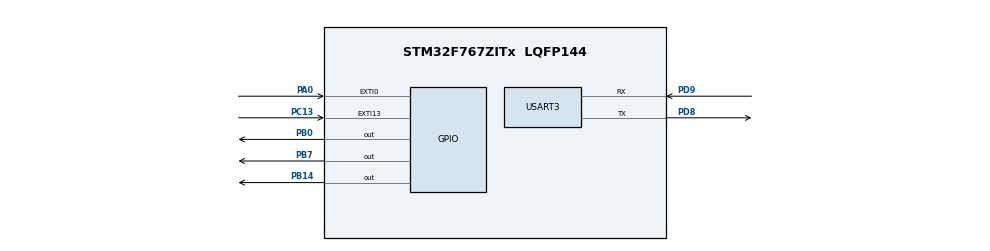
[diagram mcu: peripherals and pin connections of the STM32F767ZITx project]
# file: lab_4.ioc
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Mcu.Family=STM32F7
Mcu.Name=STM32F767ZITx
Mcu.Package=LQFP144
NVIC.EXTI0_IRQn=true\:2\:0\:true\:false\:true\:true\:true
NVIC.EXTI15_10_IRQn=true\:3\:0\:true\:false\:true\:true\:true
NVIC.PriorityGroup=NVIC_PRIORITYGROUP_4
PA0/WKUP.GPIO_ModeDefaultEXTI=GPIO_MODE_IT_FALLING
PA0/WKUP.GPIO_PuPd=GPIO_PULLUP
PA0/WKUP.Signal=GPXTI0
PB0.Signal=GPIO_Output
PB14.Signal=GPIO_Output
PB7.Signal=GPIO_Output
PC13.Signal=GPXTI13
PD8.Mode=Asynchronous
PD8.Signal=USART3_TX
PD9.Mode=Asynchronous
PD9.Signal=USART3_RX
ProjectManager.HeapSize=0x200
ProjectManager.StackSize=0x400
ProjectManager.TargetToolchain=STM32CubeIDE
RCC.HSE_VALUE=25000000
RCC.HSI_VALUE=16000000
RCC.LSE_VALUE=32768
RCC.USBFreq_Value=96000000
RCC.VCOOutputFreq_Value=192000000
USART3.VirtualMode-Asynchronous=VM_ASYNC
board=custom

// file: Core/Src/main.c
/* USER CODE BEGIN Header */
/**
  ******************************************************************************
  * @file           : main.c
  * @brief          : Main program body
  ******************************************************************************
  * @attention
  *
  * <h2><center>&copy; Copyright (c) 2020 STMicroelectronics.
  * All rights reserved.</center></h2>
  *
  * This software component is licensed by ST under BSD 3-Clause license,
  * the "License"; You may not use this file except in compliance with the
  * License. You may obtain a copy of the License at:
  *                        opensource.org/licenses/BSD-3-Clause
  *
  ******************************************************************************
  */
/* USER CODE END Header */

#include "main.h"

/* USER CODE BEGIN PD */
#define PART 1
/* USER CODE END PD */

UART_HandleTypeDef huart3;

/* USER CODE BEGIN PV */
extern UART_HandleTypeDef huart3;
/* USER CODE END PV */

void SystemClock_Config(void);
static void MX_GPIO_Init(void);
static void MX_USART3_UART_Init(void);

int main(void)
{

  /* MCU Configuration--------------------------------------------------------*/

  /* Reset of all peripherals, Initializes the Flash interface and the Systick. */
  HAL_Init();

  /* Configure the system clock */
  SystemClock_Config();

  /* Initialize all configured peripherals */
  MX_GPIO_Init();
  MX_USART3_UART_Init();

  /* Infinite loop */
  /* USER CODE BEGIN WHILE */
  while (1)
  {
	  if (PART == 1) {
		  HAL_UART_Transmit(&huart3, (uint8_t *) ".", 1, 10);
		  HAL_Delay(400);
	  }
    /* USER CODE END WHILE */

  }
}

void SystemClock_Config(void)
{
  RCC_OscInitTypeDef RCC_OscInitStruct = {0};
  RCC_ClkInitTypeDef RCC_ClkInitStruct = {0};
  RCC_PeriphCLKInitTypeDef PeriphClkInitStruct = {0};

  /** Configure the main internal regulator output voltage
  */
  __HAL_RCC_PWR_CLK_ENABLE();
  __HAL_PWR_VOLTAGESCALING_CONFIG(PWR_REGULATOR_VOLTAGE_SCALE3);
  /** Initializes the CPU, AHB and APB busses clocks
  */
  RCC_OscInitStruct.OscillatorType = RCC_OSCILLATORTYPE_HSI;
  RCC_OscInitStruct.HSIState = RCC_HSI_ON;
  RCC_OscInitStruct.HSICalibrationValue = RCC_HSICALIBRATION_DEFAULT;
  RCC_OscInitStruct.PLL.PLLState = RCC_PLL_NONE;
  if (HAL_RCC_OscConfig(&RCC_OscInitStruct) != HAL_OK)
  {
    Error_Handler();
  }
  /** Initializes the CPU, AHB and APB busses clocks
  */
  RCC_ClkInitStruct.ClockType = RCC_CLOCKTYPE_HCLK|RCC_CLOCKTYPE_SYSCLK
                              |RCC_CLOCKTYPE_PCLK1|RCC_CLOCKTYPE_PCLK2;
  RCC_ClkInitStruct.SYSCLKSource = RCC_SYSCLKSOURCE_HSI;
  RCC_ClkInitStruct.AHBCLKDivider = RCC_SYSCLK_DIV1;
  RCC_ClkInitStruct.APB1CLKDivider = RCC_HCLK_DIV1;
  RCC_ClkInitStruct.APB2CLKDivider = RCC_HCLK_DIV1;

  if (HAL_RCC_ClockConfig(&RCC_ClkInitStruct, FLASH_LATENCY_0) != HAL_OK)
  {
    Error_Handler();
  }
  PeriphClkInitStruct.PeriphClockSelection = RCC_PERIPHCLK_USART3;
  PeriphClkInitStruct.Usart3ClockSelection = RCC_USART3CLKSOURCE_PCLK1;
  if (HAL_RCCEx_PeriphCLKConfig(&PeriphClkInitStruct) != HAL_OK)
  {
    Error_Handler();
  }
}

static void MX_USART3_UART_Init(void)
{

  huart3.Instance = USART3;
  huart3.Init.BaudRate = 115200;
  huart3.Init.WordLength = UART_WORDLENGTH_8B;
  huart3.Init.StopBits = UART_STOPBITS_1;
  huart3.Init.Parity = UART_PARITY_NONE;
  huart3.Init.Mode = UART_MODE_TX_RX;
  huart3.Init.HwFlowCtl = UART_HWCONTROL_NONE;
  huart3.Init.OverSampling = UART_OVERSAMPLING_16;
  huart3.Init.OneBitSampling = UART_ONE_BIT_SAMPLE_DISABLE;
  huart3.AdvancedInit.AdvFeatureInit = UART_ADVFEATURE_NO_INIT;
  if (HAL_UART_Init(&huart3) != HAL_OK)
  {
    Error_Handler();
  }

}

static void MX_GPIO_Init(void)
{
  GPIO_InitTypeDef GPIO_InitStruct = {0};

  /* GPIO Ports Clock Enable */
  __HAL_RCC_GPIOC_CLK_ENABLE();
  __HAL_RCC_GPIOA_CLK_ENABLE();
  __HAL_RCC_GPIOB_CLK_ENABLE();
  __HAL_RCC_GPIOD_CLK_ENABLE();

  /*Configure GPIO pin Output Level */
  HAL_GPIO_WritePin(GPIOB, GPIO_PIN_0|GPIO_PIN_14|GPIO_PIN_7, GPIO_PIN_RESET);

  /*Configure GPIO pin : PC13 */
  GPIO_InitStruct.Pin = GPIO_PIN_13;
  GPIO_InitStruct.Mode = GPIO_MODE_IT_RISING;
  GPIO_InitStruct.Pull = GPIO_NOPULL;
  HAL_GPIO_Init(GPIOC, &GPIO_InitStruct);

  /*Configure GPIO pin : PA0 */
  GPIO_InitStruct.Pin = GPIO_PIN_0;
  GPIO_InitStruct.Mode = GPIO_MODE_IT_FALLING;
  GPIO_InitStruct.Pull = GPIO_PULLUP;
  HAL_GPIO_Init(GPIOA, &GPIO_InitStruct);

  /*Configure GPIO pins : PB0 PB14 PB7 */
  GPIO_InitStruct.Pin = GPIO_PIN_0|GPIO_PIN_14|GPIO_PIN_7;
  GPIO_InitStruct.Mode = GPIO_MODE_OUTPUT_PP;
  GPIO_InitStruct.Pull = GPIO_NOPULL;
  GPIO_InitStruct.Speed = GPIO_SPEED_FREQ_LOW;
  HAL_GPIO_Init(GPIOB, &GPIO_InitStruct);

  /* EXTI interrupt init*/
  HAL_NVIC_SetPriority(EXTI0_IRQn, 2, 3);
  HAL_NVIC_EnableIRQ(EXTI0_IRQn);

  HAL_NVIC_SetPriority(EXTI15_10_IRQn, 3, 1);
  HAL_NVIC_EnableIRQ(EXTI15_10_IRQn);

}

/* USER CODE BEGIN 4 */
void HAL_GPIO_EXTI_Callback(uint16_t GPIO_Pin) {

	if (GPIO_Pin == GPIO_PIN_13) {
		HAL_UART_Transmit(&huart3, (uint8_t *) "---", 3, 100);
		HAL_Delay(200);

		for(int i=0; i<20; i++){
			HAL_UART_Transmit(&huart3, (uint8_t *) "B", 1, 100);
			HAL_Delay(200);
		}

	}

	if (GPIO_Pin == GPIO_PIN_0) {
		HAL_GPIO_TogglePin(GPIOB, GPIO_PIN_14);
		HAL_UART_Transmit(&huart3, (uint8_t *) "---", 3, 100);
		HAL_Delay(200);

		for(int i=0; i<20; i++){
			HAL_UART_Transmit(&huart3, (uint8_t *) "E", 1, 100);
			HAL_Delay(200);
		}

		}

}
/* USER CODE END 4 */

void Error_Handler(void)
{
}

/************************ (C) COPYRIGHT STMicroelectronics *****END OF FILE****/
